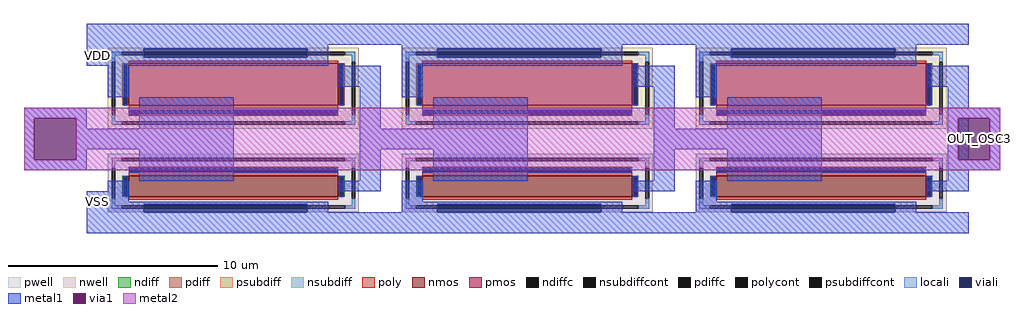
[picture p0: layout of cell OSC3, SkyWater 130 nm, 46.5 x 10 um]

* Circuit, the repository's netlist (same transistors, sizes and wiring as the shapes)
** sch_path: /home/ttuser/tt_analog_z2a_2/xschem/OSC3.sch
.subckt OSC3 VDD VSS OUT_OSC3
*.PININFO VDD:B VSS:B OUT_OSC3:B
x19 VDD VSS net1 OUT_OSC3 inv_x4
x20 VDD VSS net2 net1 inv_x4
x21 VDD VSS OUT_OSC3 net2 inv_x4
.ends

* expanding   symbol:  inv_x4.sym # of pins=4
** sym_path: /home/ttuser/tt_analog_z2a_2/xschem/inv_x4.sym
** sch_path: /home/ttuser/tt_analog_z2a_2/xschem/inv_x4.sch
.subckt inv_x4 VDD VSS INV_OUT INV_IN
*.PININFO INV_IN:I INV_OUT:O VDD:B VSS:B
XM3 INV_OUT INV_IN VDD VDD sky130_fd_pr__pfet_01v8 L=10 W=2 nf=1 m=1
XM5 INV_OUT INV_IN VSS VSS sky130_fd_pr__nfet_01v8 L=10 W=1 nf=1 m=1
.ends

.end

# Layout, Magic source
magic
tech sky130A
<< metal1 >>
rect 400 300 500 400
rect 100 50 400 100
rect 100 -150 150 50
rect 350 -150 400 50
rect 100 -200 400 -150
rect 4500 50 4750 100
rect 4500 -150 4550 50
rect 4700 -150 4750 50
rect 4500 -200 4750 -150
rect 400 -400 500 -300
<< via1 >>
rect 150 -150 350 50
rect 4550 -150 4700 50
<< metal2 >>
rect 100 50 4750 100
rect 100 -150 150 50
rect 350 -150 4550 50
rect 4700 -150 4750 50
rect 100 -200 4750 -150
use inv_x4  x19
transform 1 0 0 0 1 100
box 400 -600 1800 400
use inv_x4  x20
transform 1 0 1400 0 1 100
box 400 -600 1800 400
use inv_x4  x21
transform 1 0 2800 0 1 100
box 400 -600 1800 400
<< labels >>
flabel metal1 400 300 500 400 0 FreeSans 128 0 0 0 VDD
port 0 nsew
flabel metal1 400 -400 500 -300 0 FreeSans 128 0 0 0 VSS
port 1 nsew
flabel via1 4600 -100 4700 0 0 FreeSans 128 0 0 0 OUT_OSC3
port 2 nsew
<< end >>

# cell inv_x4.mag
magic
tech sky130A
magscale 1 2
<< viali >>
rect 1340 480 2900 560
rect 1340 -1000 2900 -920
<< metal1 >>
rect 800 600 3600 800
rect 1000 560 3100 600
rect 1000 480 1340 560
rect 2900 480 3100 560
rect 1000 400 3100 480
rect 1000 100 1200 400
rect 3200 200 3600 400
rect 1300 -200 2200 100
rect 800 -400 2200 -200
rect 1300 -700 2200 -400
rect 3400 -700 3600 200
rect 1000 -900 1200 -700
rect 3200 -800 3600 -700
rect 1000 -920 3100 -900
rect 1000 -1000 1340 -920
rect 2900 -1000 3100 -920
rect 800 -1200 3600 -1000
use sky130_fd_pr__pfet_01v8_P6BKAN  sky130_fd_pr__pfet_01v8_P6BKAN_0
transform 1 0 2196 0 1 184
box -1196 -384 1196 384
use sky130_fd_pr__nfet_01v8_QXQT3M  XM5
transform 1 0 2196 0 1 -721
box -1196 -279 1196 279
<< labels >>
flabel metal1 800 -400 1000 -200 0 FreeSans 256 0 0 0 INV_IN
port 3 nsew
flabel metal1 800 -1200 1000 -1000 0 FreeSans 256 0 0 0 VSS
port 1 nsew
flabel metal1 800 600 1000 800 0 FreeSans 256 0 0 0 VDD
port 0 nsew
flabel metal1 3400 -400 3600 -200 0 FreeSans 256 0 0 0 INV_OUT
port 2 nsew
<< end >>

# cell sky130_fd_pr__pfet_01v8_P6BKAN: kit device sky130_fd_pr__pfet_01v8, w 2.0 l 10.0 m 1 nf 1 diffcov 100 polycov 100 guard 1 glc 1 grc 1 gtc 1 gbc 1 tbcov 100 rlcov 100 topc 0 botc 1 poverlap 0 doverlap 1 lmin 0.15 wmin 0.42 compatible {sky130_fd_pr__pfet_01v8 sky130_fd_pr__pfet_01v8_lvt sky130_fd_pr__pfet_01v8_hvt sky130_fd_pr__pfet_g5v0d10v5} full_metal 1 viasrc 100 viadrn 100 viagate 100 viagb 0 viagr 0 viagl 0 viagt 0

# cell sky130_fd_pr__nfet_01v8_QXQT3M: kit device sky130_fd_pr__nfet_01v8, w 1.0 l 10.0 m 1 nf 1 diffcov 100 polycov 100 guard 1 glc 1 grc 1 gtc 1 gbc 1 tbcov 100 rlcov 100 topc 1 botc 0 poverlap 0 doverlap 1 lmin 0.15 wmin 0.42 compatible {sky130_fd_pr__nfet_01v8 sky130_fd_pr__nfet_01v8_lvt sky130_fd_bs_flash__special_sonosfet_star sky130_fd_pr__nfet_g5v0d10v5 sky130_fd_pr__nfet_05v0_nvt sky130_fd_pr__nfet_03v3_nvt} full_metal 1 viasrc 100 viadrn 100 viagate 100 viagb 0 viagr 0 viagl 0 viagt 0
